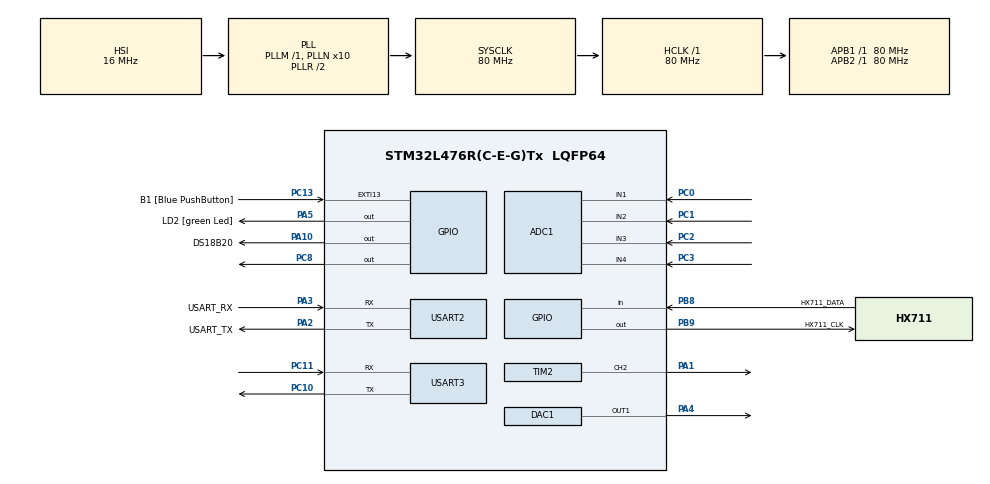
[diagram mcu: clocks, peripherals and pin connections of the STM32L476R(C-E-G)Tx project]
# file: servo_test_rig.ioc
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ADC1.Channel-0\#ChannelRegularConversion=ADC_CHANNEL_1
ADC1.Channel-1\#ChannelRegularConversion=ADC_CHANNEL_2
ADC1.Channel-2\#ChannelRegularConversion=ADC_CHANNEL_3
ADC1.Channel-3\#ChannelRegularConversion=ADC_CHANNEL_4
ADC1.DMAContinuousRequests=ENABLE
ADC1.ExternalTrigConv=ADC_SOFTWARE_START
ADC1.NbrOfConversion=4
ADC1.NbrOfConversionFlag=1
ADC1.OffsetNumber-0\#ChannelRegularConversion=ADC_OFFSET_NONE
ADC1.OffsetNumber-1\#ChannelRegularConversion=ADC_OFFSET_NONE
ADC1.OffsetNumber-2\#ChannelRegularConversion=ADC_OFFSET_NONE
ADC1.OffsetNumber-3\#ChannelRegularConversion=ADC_OFFSET_NONE
ADC1.Rank-0\#ChannelRegularConversion=1
ADC1.Rank-1\#ChannelRegularConversion=2
ADC1.Rank-2\#ChannelRegularConversion=3
ADC1.Rank-3\#ChannelRegularConversion=4
ADC1.SamplingTime-0\#ChannelRegularConversion=ADC_SAMPLETIME_92CYCLES_5
ADC1.SamplingTime-1\#ChannelRegularConversion=ADC_SAMPLETIME_92CYCLES_5
ADC1.SamplingTime-2\#ChannelRegularConversion=ADC_SAMPLETIME_92CYCLES_5
ADC1.SamplingTime-3\#ChannelRegularConversion=ADC_SAMPLETIME_92CYCLES_5
ADC1.master=1
Dma.ADC1.0.Direction=DMA_PERIPH_TO_MEMORY
Dma.ADC1.0.Instance=DMA1_Channel1
Dma.ADC1.0.MemDataAlignment=DMA_MDATAALIGN_HALFWORD
Dma.ADC1.0.MemInc=DMA_MINC_ENABLE
Dma.ADC1.0.Mode=DMA_CIRCULAR
Dma.ADC1.0.PeriphDataAlignment=DMA_PDATAALIGN_HALFWORD
Dma.ADC1.0.PeriphInc=DMA_PINC_DISABLE
Dma.ADC1.0.Priority=DMA_PRIORITY_HIGH
Dma.Request0=ADC1
Dma.Request1=USART2_RX
Dma.Request2=USART3_RX
Dma.USART2_RX.1.Direction=DMA_PERIPH_TO_MEMORY
Dma.USART2_RX.1.Instance=DMA1_Channel6
Dma.USART2_RX.1.MemDataAlignment=DMA_MDATAALIGN_BYTE
Dma.USART2_RX.1.MemInc=DMA_MINC_ENABLE
Dma.USART2_RX.1.Mode=DMA_CIRCULAR
Dma.USART2_RX.1.PeriphDataAlignment=DMA_PDATAALIGN_BYTE
Dma.USART2_RX.1.PeriphInc=DMA_PINC_DISABLE
Dma.USART2_RX.1.Priority=DMA_PRIORITY_VERY_HIGH
Dma.USART3_RX.2.Direction=DMA_PERIPH_TO_MEMORY
Dma.USART3_RX.2.Instance=DMA1_Channel3
Dma.USART3_RX.2.MemDataAlignment=DMA_MDATAALIGN_BYTE
Dma.USART3_RX.2.MemInc=DMA_MINC_ENABLE
Dma.USART3_RX.2.Mode=DMA_CIRCULAR
Dma.USART3_RX.2.PeriphDataAlignment=DMA_PDATAALIGN_BYTE
Dma.USART3_RX.2.PeriphInc=DMA_PINC_DISABLE
Dma.USART3_RX.2.Priority=DMA_PRIORITY_VERY_HIGH
Mcu.Family=STM32L4
Mcu.Name=STM32L476R(C-E-G)Tx
Mcu.Package=LQFP64
NVIC.ADC1_2_IRQn=true\:0\:0\:false\:false\:true\:true\:true\:true
NVIC.DMA1_Channel1_IRQn=true\:0\:0\:false\:false\:true\:false\:true\:true
NVIC.DMA1_Channel3_IRQn=true\:0\:0\:false\:false\:true\:false\:true\:true
NVIC.DMA1_Channel6_IRQn=true\:0\:0\:false\:false\:true\:false\:true\:true
NVIC.PriorityGroup=NVIC_PRIORITYGROUP_4
NVIC.USART2_IRQn=true\:0\:0\:false\:false\:true\:true\:true\:true
NVIC.USART3_IRQn=true\:0\:0\:false\:false\:true\:true\:true\:true
PA1.Signal=S_TIM2_CH2
PA10.GPIO_Label=DS18B20
PA10.GPIO_ModeDefaultOutputPP=GPIO_MODE_OUTPUT_OD
PA10.GPIO_PuPd=GPIO_NOPULL
PA10.GPIO_Speed=GPIO_SPEED_FREQ_VERY_HIGH
PA10.PinState=GPIO_PIN_SET
PA10.Signal=GPIO_Output
PA13\ (JTMS-SWDIO).GPIO_Label=TMS
PA13\ (JTMS-SWDIO).Mode=Serial_Wire
PA13\ (JTMS-SWDIO).Signal=SYS_JTMS-SWDIO
PA14\ (JTCK-SWCLK).GPIO_Label=TCK
PA14\ (JTCK-SWCLK).Mode=Serial_Wire
PA14\ (JTCK-SWCLK).Signal=SYS_JTCK-SWCLK
PA2.GPIO_Label=USART_TX
PA2.GPIO_Mode=GPIO_MODE_AF_PP
PA2.GPIO_PuPd=GPIO_NOPULL
PA2.GPIO_Speed=GPIO_SPEED_FREQ_VERY_HIGH
PA2.Mode=Asynchronous
PA2.Signal=USART2_TX
PA3.GPIO_Label=USART_RX
PA3.GPIO_Mode=GPIO_MODE_AF_PP
PA3.GPIO_PuPd=GPIO_NOPULL
PA3.GPIO_Speed=GPIO_SPEED_FREQ_VERY_HIGH
PA3.Mode=Asynchronous
PA3.Signal=USART2_RX
PA4.Signal=COMP_DAC11_group
PA5.GPIO_Label=LD2 [green Led]
PA5.GPIO_ModeDefaultOutputPP=GPIO_MODE_OUTPUT_PP
PA5.GPIO_PuPd=GPIO_NOPULL
PA5.GPIO_Speed=GPIO_SPEED_FREQ_LOW
PA5.Signal=GPIO_Output
PB3\ (JTDO-TRACESWO).GPIO_Label=SWO
PB3\ (JTDO-TRACESWO).Signal=SYS_JTDO-SWO
PB8.GPIO_Label=HX711_DATA
PB8.Signal=GPIO_Input
PB9.GPIO_Label=HX711_CLK
PB9.Signal=GPIO_Output
PC0.Signal=ADCx_IN1
PC1.Signal=ADCx_IN2
PC10.Mode=Asynchronous
PC10.Signal=USART3_TX
PC11.Mode=Asynchronous
PC11.Signal=USART3_RX
PC13.GPIO_Label=B1 [Blue PushButton]
PC13.GPIO_ModeDefaultEXTI=GPIO_MODE_IT_FALLING
PC13.GPIO_PuPd=GPIO_NOPULL
PC13.Signal=GPXTI13
PC14-OSC32_IN\ (PC14).Mode=LSE-External-Oscillator
PC14-OSC32_IN\ (PC14).Signal=RCC_OSC32_IN
PC15-OSC32_OUT\ (PC15).Mode=LSE-External-Oscillator
PC15-OSC32_OUT\ (PC15).Signal=RCC_OSC32_OUT
PC2.Signal=ADCx_IN3
PC3.Signal=ADCx_IN4
PC8.Signal=GPIO_Output
PH0-OSC_IN\ (PH0).Signal=RCC_OSC_IN
PH1-OSC_OUT\ (PH1).Signal=RCC_OSC_OUT
ProjectManager.HeapSize=0x200
ProjectManager.StackSize=0x400
ProjectManager.TargetToolchain=STM32CubeIDE
RCC.ADCFreq_Value=64000000
RCC.AHBFreq_Value=80000000
RCC.APB1Freq_Value=80000000
RCC.APB1TimFreq_Value=80000000
RCC.APB2Freq_Value=80000000
RCC.APB2TimFreq_Value=80000000
RCC.CortexFreq_Value=80000000
RCC.HCLKFreq_Value=80000000
RCC.HSE_VALUE=8000000
RCC.HSI_VALUE=16000000
RCC.MSI_VALUE=4000000
RCC.PLLN=10
RCC.PLLSourceVirtual=RCC_PLLSOURCE_HSI
RCC.PREFETCH_ENABLE=1
RCC.SYSCLKFreq_VALUE=80000000
RCC.SYSCLKSource=RCC_SYSCLKSOURCE_PLLCLK
RCC.USBFreq_Value=64000000
RCC.VCOOutputFreq_Value=160000000
SH.ADCx_IN1.0=ADC1_IN1,IN1-Single-Ended
SH.ADCx_IN2.0=ADC1_IN2,IN2-Single-Ended
SH.ADCx_IN3.0=ADC1_IN3,IN3-Single-Ended
SH.ADCx_IN4.0=ADC1_IN4,IN4-Single-Ended
SH.COMP_DAC11_group.0=DAC1_OUT1,DAC_OUT1_ExtAndInt
SH.S_TIM2_CH2.0=TIM2_CH2,PWM Generation2 CH2
TIM1.Prescaler=80-1
TIM2.Channel-PWM\ Generation2\ CH2=TIM_CHANNEL_2
TIM2.Period=1600000-1
USART2.VirtualMode-Asynchronous=VM_ASYNC
USART3.VirtualMode-Asynchronous=VM_ASYNC
VP_TIM1_VS_ClockSourceINT.Mode=Internal
board=NUCLEO-L476RG

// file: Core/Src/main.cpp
/* USER CODE BEGIN Header */
/**
  ******************************************************************************
  * @file           : main.c
  * @brief          : Main program body
  ******************************************************************************
  * @attention
  *
  * Copyright (c) 2023 STMicroelectronics.
  * All rights reserved.
  *
  * This software is licensed under terms that can be found in the LICENSE file
  * in the root directory of this software component.
  * If no LICENSE file comes with this software, it is provided AS-IS.
  *
  ******************************************************************************
  */
/* USER CODE END Header */
#include "main.h"

/* USER CODE BEGIN Includes */
#include <stdio.h>
#include <string.h>

#include "../Dufour_Drivers/Inc/ds18b20_driver.hh"
#include "../Dufour_Drivers/Inc/high_level_controller.hh"
#include "../Dufour_Drivers/Inc/hx711_driver.hh"
#include "../Dufour_Drivers/Inc/one_wire_driver.hh"
#include "../Dufour_Drivers/Inc/sensor_feedback_driver.hh"
#include "../Dufour_Drivers/Inc/serial_interface.hh"
#include "../Dufour_Drivers/Inc/servo_p500_driver.hh"
#include "../Dufour_Drivers/Inc/timer_driver.hh"
#include "../Dufour_Drivers/Inc/uart_driver.hh"
/* USER CODE END Includes */

ADC_HandleTypeDef hadc1;
DMA_HandleTypeDef hdma_adc1;

DAC_HandleTypeDef hdac1;

TIM_HandleTypeDef htim1;
TIM_HandleTypeDef htim2;

UART_HandleTypeDef huart2;
UART_HandleTypeDef huart3;
DMA_HandleTypeDef hdma_usart2_rx;
DMA_HandleTypeDef hdma_usart3_rx;

/* USER CODE BEGIN PV */

// Servo driver
ServoP500Driver servo(&htim2, TIM_CHANNEL_2);

// Sensor feedback
OneWireDriver ds18b20_1wire(DS18B20_GPIO_Port, DS18B20_Pin);
DS18B20Driver temp_sensors(&ds18b20_1wire);
HX711Driver load_cell(HX711_CLK_GPIO_Port, HX711_CLK_Pin, HX711_DATA_GPIO_Port, HX711_DATA_Pin);
SensorFeedbackDriver sensors(&hadc1, &load_cell, &temp_sensors);

// host-PC interface
UartDriver serial(&huart3);
SerialInterface host_pc(&serial);

TimerDriver timer;

/* USER CODE END PV */

void SystemClock_Config(void);
static void MX_GPIO_Init(void);
static void MX_DMA_Init(void);
static void MX_USART2_UART_Init(void);
static void MX_ADC1_Init(void);
static void MX_TIM2_Init(void);
static void MX_DAC1_Init(void);
static void MX_TIM1_Init(void);
static void MX_USART3_UART_Init(void);

int main(void)
{

  /* MCU Configuration--------------------------------------------------------*/

  /* Reset of all peripherals, Initializes the Flash interface and the Systick. */
  HAL_Init();

  /* Configure the system clock */
  SystemClock_Config();

  /* Initialize all configured peripherals */
  MX_GPIO_Init();
  MX_DMA_Init();
  MX_USART2_UART_Init();
  MX_ADC1_Init();
  MX_TIM2_Init();
  MX_DAC1_Init();
  MX_TIM1_Init();
  MX_USART3_UART_Init();
  /* USER CODE BEGIN 2 */

  // delay_us() timer
  HAL_TIM_Base_Start(&htim1);
  serial.start();
  ServoController servo_ctrl(&timer, &servo, &sensors, &host_pc, &serial);
  servo_ctrl.init();
  /* USER CODE END 2 */

  /* Infinite loop */
  /* USER CODE BEGIN WHILE */
  while (1)
  {
  	servo_ctrl.step();
    /* USER CODE END WHILE */

  }
}

void SystemClock_Config(void)
{
  RCC_OscInitTypeDef RCC_OscInitStruct = {0};
  RCC_ClkInitTypeDef RCC_ClkInitStruct = {0};

  /** Configure the main internal regulator output voltage
  */
  if (HAL_PWREx_ControlVoltageScaling(PWR_REGULATOR_VOLTAGE_SCALE1) != HAL_OK)
  {
    Error_Handler();
  }

  /** Initializes the RCC Oscillators according to the specified parameters
  * in the RCC_OscInitTypeDef structure.
  */
  RCC_OscInitStruct.OscillatorType = RCC_OSCILLATORTYPE_HSI;
  RCC_OscInitStruct.HSIState = RCC_HSI_ON;
  RCC_OscInitStruct.HSICalibrationValue = RCC_HSICALIBRATION_DEFAULT;
  RCC_OscInitStruct.PLL.PLLState = RCC_PLL_ON;
  RCC_OscInitStruct.PLL.PLLSource = RCC_PLLSOURCE_HSI;
  RCC_OscInitStruct.PLL.PLLM = 1;
  RCC_OscInitStruct.PLL.PLLN = 10;
  RCC_OscInitStruct.PLL.PLLP = RCC_PLLP_DIV7;
  RCC_OscInitStruct.PLL.PLLQ = RCC_PLLQ_DIV2;
  RCC_OscInitStruct.PLL.PLLR = RCC_PLLR_DIV2;
  if (HAL_RCC_OscConfig(&RCC_OscInitStruct) != HAL_OK)
  {
    Error_Handler();
  }

  /** Initializes the CPU, AHB and APB buses clocks
  */
  RCC_ClkInitStruct.ClockType = RCC_CLOCKTYPE_HCLK|RCC_CLOCKTYPE_SYSCLK
                              |RCC_CLOCKTYPE_PCLK1|RCC_CLOCKTYPE_PCLK2;
  RCC_ClkInitStruct.SYSCLKSource = RCC_SYSCLKSOURCE_PLLCLK;
  RCC_ClkInitStruct.AHBCLKDivider = RCC_SYSCLK_DIV1;
  RCC_ClkInitStruct.APB1CLKDivider = RCC_HCLK_DIV1;
  RCC_ClkInitStruct.APB2CLKDivider = RCC_HCLK_DIV1;

  if (HAL_RCC_ClockConfig(&RCC_ClkInitStruct, FLASH_LATENCY_4) != HAL_OK)
  {
    Error_Handler();
  }
}

static void MX_ADC1_Init(void)
{

  ADC_MultiModeTypeDef multimode = {0};
  ADC_ChannelConfTypeDef sConfig = {0};

  /** Common config
  */
  hadc1.Instance = ADC1;
  hadc1.Init.ClockPrescaler = ADC_CLOCK_ASYNC_DIV1;
  hadc1.Init.Resolution = ADC_RESOLUTION_12B;
  hadc1.Init.DataAlign = ADC_DATAALIGN_RIGHT;
  hadc1.Init.ScanConvMode = ADC_SCAN_ENABLE;
  hadc1.Init.EOCSelection = ADC_EOC_SINGLE_CONV;
  hadc1.Init.LowPowerAutoWait = DISABLE;
  hadc1.Init.ContinuousConvMode = DISABLE;
  hadc1.Init.NbrOfConversion = 4;
  hadc1.Init.DiscontinuousConvMode = DISABLE;
  hadc1.Init.ExternalTrigConv = ADC_SOFTWARE_START;
  hadc1.Init.ExternalTrigConvEdge = ADC_EXTERNALTRIGCONVEDGE_NONE;
  hadc1.Init.DMAContinuousRequests = ENABLE;
  hadc1.Init.Overrun = ADC_OVR_DATA_PRESERVED;
  hadc1.Init.OversamplingMode = DISABLE;
  if (HAL_ADC_Init(&hadc1) != HAL_OK)
  {
    Error_Handler();
  }

  /** Configure the ADC multi-mode
  */
  multimode.Mode = ADC_MODE_INDEPENDENT;
  if (HAL_ADCEx_MultiModeConfigChannel(&hadc1, &multimode) != HAL_OK)
  {
    Error_Handler();
  }

  /** Configure Regular Channel
  */
  sConfig.Channel = ADC_CHANNEL_1;
  sConfig.Rank = ADC_REGULAR_RANK_1;
  sConfig.SamplingTime = ADC_SAMPLETIME_92CYCLES_5;
  sConfig.SingleDiff = ADC_SINGLE_ENDED;
  sConfig.OffsetNumber = ADC_OFFSET_NONE;
  sConfig.Offset = 0;
  if (HAL_ADC_ConfigChannel(&hadc1, &sConfig) != HAL_OK)
  {
    Error_Handler();
  }

  /** Configure Regular Channel
  */
  sConfig.Channel = ADC_CHANNEL_2;
  sConfig.Rank = ADC_REGULAR_RANK_2;
  if (HAL_ADC_ConfigChannel(&hadc1, &sConfig) != HAL_OK)
  {
    Error_Handler();
  }

  /** Configure Regular Channel
  */
  sConfig.Channel = ADC_CHANNEL_3;
  sConfig.Rank = ADC_REGULAR_RANK_3;
  if (HAL_ADC_ConfigChannel(&hadc1, &sConfig) != HAL_OK)
  {
    Error_Handler();
  }

  /** Configure Regular Channel
  */
  sConfig.Channel = ADC_CHANNEL_4;
  sConfig.Rank = ADC_REGULAR_RANK_4;
  if (HAL_ADC_ConfigChannel(&hadc1, &sConfig) != HAL_OK)
  {
    Error_Handler();
  }

}

static void MX_DAC1_Init(void)
{

  DAC_ChannelConfTypeDef sConfig = {0};

  /** DAC Initialization
  */
  hdac1.Instance = DAC1;
  if (HAL_DAC_Init(&hdac1) != HAL_OK)
  {
    Error_Handler();
  }

  /** DAC channel OUT1 config
  */
  sConfig.DAC_SampleAndHold = DAC_SAMPLEANDHOLD_DISABLE;
  sConfig.DAC_Trigger = DAC_TRIGGER_NONE;
  sConfig.DAC_OutputBuffer = DAC_OUTPUTBUFFER_ENABLE;
  sConfig.DAC_ConnectOnChipPeripheral = DAC_CHIPCONNECT_ENABLE;
  sConfig.DAC_UserTrimming = DAC_TRIMMING_FACTORY;
  if (HAL_DAC_ConfigChannel(&hdac1, &sConfig, DAC_CHANNEL_1) != HAL_OK)
  {
    Error_Handler();
  }

}

static void MX_TIM1_Init(void)
{

  TIM_ClockConfigTypeDef sClockSourceConfig = {0};
  TIM_MasterConfigTypeDef sMasterConfig = {0};

  htim1.Instance = TIM1;
  htim1.Init.Prescaler = 80-1;
  htim1.Init.CounterMode = TIM_COUNTERMODE_UP;
  htim1.Init.Period = 65535;
  htim1.Init.ClockDivision = TIM_CLOCKDIVISION_DIV1;
  htim1.Init.RepetitionCounter = 0;
  htim1.Init.AutoReloadPreload = TIM_AUTORELOAD_PRELOAD_DISABLE;
  if (HAL_TIM_Base_Init(&htim1) != HAL_OK)
  {
    Error_Handler();
  }
  sClockSourceConfig.ClockSource = TIM_CLOCKSOURCE_INTERNAL;
  if (HAL_TIM_ConfigClockSource(&htim1, &sClockSourceConfig) != HAL_OK)
  {
    Error_Handler();
  }
  sMasterConfig.MasterOutputTrigger = TIM_TRGO_RESET;
  sMasterConfig.MasterOutputTrigger2 = TIM_TRGO2_RESET;
  sMasterConfig.MasterSlaveMode = TIM_MASTERSLAVEMODE_DISABLE;
  if (HAL_TIMEx_MasterConfigSynchronization(&htim1, &sMasterConfig) != HAL_OK)
  {
    Error_Handler();
  }

}

static void MX_TIM2_Init(void)
{

  TIM_MasterConfigTypeDef sMasterConfig = {0};
  TIM_OC_InitTypeDef sConfigOC = {0};

  htim2.Instance = TIM2;
  htim2.Init.Prescaler = 0;
  htim2.Init.CounterMode = TIM_COUNTERMODE_UP;
  htim2.Init.Period = 1600000-1;
  htim2.Init.ClockDivision = TIM_CLOCKDIVISION_DIV1;
  htim2.Init.AutoReloadPreload = TIM_AUTORELOAD_PRELOAD_DISABLE;
  if (HAL_TIM_PWM_Init(&htim2) != HAL_OK)
  {
    Error_Handler();
  }
  sMasterConfig.MasterOutputTrigger = TIM_TRGO_RESET;
  sMasterConfig.MasterSlaveMode = TIM_MASTERSLAVEMODE_DISABLE;
  if (HAL_TIMEx_MasterConfigSynchronization(&htim2, &sMasterConfig) != HAL_OK)
  {
    Error_Handler();
  }
  sConfigOC.OCMode = TIM_OCMODE_PWM1;
  sConfigOC.Pulse = 0;
  sConfigOC.OCPolarity = TIM_OCPOLARITY_HIGH;
  sConfigOC.OCFastMode = TIM_OCFAST_DISABLE;
  if (HAL_TIM_PWM_ConfigChannel(&htim2, &sConfigOC, TIM_CHANNEL_2) != HAL_OK)
  {
    Error_Handler();
  }
  HAL_TIM_MspPostInit(&htim2);

}

static void MX_USART2_UART_Init(void)
{

  huart2.Instance = USART2;
  huart2.Init.BaudRate = 115200;
  huart2.Init.WordLength = UART_WORDLENGTH_8B;
  huart2.Init.StopBits = UART_STOPBITS_1;
  huart2.Init.Parity = UART_PARITY_NONE;
  huart2.Init.Mode = UART_MODE_TX_RX;
  huart2.Init.HwFlowCtl = UART_HWCONTROL_NONE;
  huart2.Init.OverSampling = UART_OVERSAMPLING_16;
  huart2.Init.OneBitSampling = UART_ONE_BIT_SAMPLE_DISABLE;
  huart2.AdvancedInit.AdvFeatureInit = UART_ADVFEATURE_NO_INIT;
  if (HAL_UART_Init(&huart2) != HAL_OK)
  {
    Error_Handler();
  }

}

static void MX_USART3_UART_Init(void)
{

  huart3.Instance = USART3;
  huart3.Init.BaudRate = 115200;
  huart3.Init.WordLength = UART_WORDLENGTH_8B;
  huart3.Init.StopBits = UART_STOPBITS_1;
  huart3.Init.Parity = UART_PARITY_NONE;
  huart3.Init.Mode = UART_MODE_TX_RX;
  huart3.Init.HwFlowCtl = UART_HWCONTROL_NONE;
  huart3.Init.OverSampling = UART_OVERSAMPLING_16;
  huart3.Init.OneBitSampling = UART_ONE_BIT_SAMPLE_DISABLE;
  huart3.AdvancedInit.AdvFeatureInit = UART_ADVFEATURE_NO_INIT;
  if (HAL_UART_Init(&huart3) != HAL_OK)
  {
    Error_Handler();
  }

}

static void MX_DMA_Init(void)
{

  /* DMA controller clock enable */
  __HAL_RCC_DMA1_CLK_ENABLE();

  /* DMA interrupt init */
  /* DMA1_Channel1_IRQn interrupt configuration */
  HAL_NVIC_SetPriority(DMA1_Channel1_IRQn, 0, 0);
  HAL_NVIC_EnableIRQ(DMA1_Channel1_IRQn);
  /* DMA1_Channel3_IRQn interrupt configuration */
  HAL_NVIC_SetPriority(DMA1_Channel3_IRQn, 0, 0);
  HAL_NVIC_EnableIRQ(DMA1_Channel3_IRQn);
  /* DMA1_Channel6_IRQn interrupt configuration */
  HAL_NVIC_SetPriority(DMA1_Channel6_IRQn, 0, 0);
  HAL_NVIC_EnableIRQ(DMA1_Channel6_IRQn);

}

static void MX_GPIO_Init(void)
{
  GPIO_InitTypeDef GPIO_InitStruct = {0};

  /* GPIO Ports Clock Enable */
  __HAL_RCC_GPIOC_CLK_ENABLE();
  __HAL_RCC_GPIOH_CLK_ENABLE();
  __HAL_RCC_GPIOA_CLK_ENABLE();
  __HAL_RCC_GPIOB_CLK_ENABLE();

  /*Configure GPIO pin Output Level */
  HAL_GPIO_WritePin(LD2_GPIO_Port, LD2_Pin, GPIO_PIN_RESET);

  /*Configure GPIO pin Output Level */
  HAL_GPIO_WritePin(GPIOC, GPIO_PIN_8, GPIO_PIN_RESET);

  /*Configure GPIO pin Output Level */
  HAL_GPIO_WritePin(DS18B20_GPIO_Port, DS18B20_Pin, GPIO_PIN_SET);

  /*Configure GPIO pin Output Level */
  HAL_GPIO_WritePin(HX711_CLK_GPIO_Port, HX711_CLK_Pin, GPIO_PIN_RESET);

  /*Configure GPIO pin : B1_Pin */
  GPIO_InitStruct.Pin = B1_Pin;
  GPIO_InitStruct.Mode = GPIO_MODE_IT_FALLING;
  GPIO_InitStruct.Pull = GPIO_NOPULL;
  HAL_GPIO_Init(B1_GPIO_Port, &GPIO_InitStruct);

  /*Configure GPIO pin : LD2_Pin */
  GPIO_InitStruct.Pin = LD2_Pin;
  GPIO_InitStruct.Mode = GPIO_MODE_OUTPUT_PP;
  GPIO_InitStruct.Pull = GPIO_NOPULL;
  GPIO_InitStruct.Speed = GPIO_SPEED_FREQ_LOW;
  HAL_GPIO_Init(LD2_GPIO_Port, &GPIO_InitStruct);

  /*Configure GPIO pin : PC8 */
  GPIO_InitStruct.Pin = GPIO_PIN_8;
  GPIO_InitStruct.Mode = GPIO_MODE_OUTPUT_PP;
  GPIO_InitStruct.Pull = GPIO_NOPULL;
  GPIO_InitStruct.Speed = GPIO_SPEED_FREQ_LOW;
  HAL_GPIO_Init(GPIOC, &GPIO_InitStruct);

  /*Configure GPIO pin : DS18B20_Pin */
  GPIO_InitStruct.Pin = DS18B20_Pin;
  GPIO_InitStruct.Mode = GPIO_MODE_OUTPUT_OD;
  GPIO_InitStruct.Pull = GPIO_NOPULL;
  GPIO_InitStruct.Speed = GPIO_SPEED_FREQ_VERY_HIGH;
  HAL_GPIO_Init(DS18B20_GPIO_Port, &GPIO_InitStruct);

  /*Configure GPIO pin : HX711_DATA_Pin */
  GPIO_InitStruct.Pin = HX711_DATA_Pin;
  GPIO_InitStruct.Mode = GPIO_MODE_INPUT;
  GPIO_InitStruct.Pull = GPIO_NOPULL;
  HAL_GPIO_Init(HX711_DATA_GPIO_Port, &GPIO_InitStruct);

  /*Configure GPIO pin : HX711_CLK_Pin */
  GPIO_InitStruct.Pin = HX711_CLK_Pin;
  GPIO_InitStruct.Mode = GPIO_MODE_OUTPUT_PP;
  GPIO_InitStruct.Pull = GPIO_NOPULL;
  GPIO_InitStruct.Speed = GPIO_SPEED_FREQ_LOW;
  HAL_GPIO_Init(HX711_CLK_GPIO_Port, &GPIO_InitStruct);

}

/* USER CODE BEGIN 4 */
void HAL_UART_TxCpltCallback(UART_HandleTypeDef *huart)
{
	if(huart->Instance == serial.get_instance())
	{
		serial.on_tx_completed();
	}
}

void HAL_UART_RxCpltCallback(UART_HandleTypeDef *huart)
{
	if(huart->Instance == serial.get_instance())
	{
		serial.on_rx_completed();
	}
}

void HAL_ADC_ConvCpltCallback(ADC_HandleTypeDef *hadc)
{
  if(hadc->Instance == sensors.get_adc_instance())
  {
    sensors.on_adc_cplt_conv();
  }
}

void delay_us(uint32_t us)
{
	__HAL_TIM_SET_COUNTER(&htim1, 0);
	while(__HAL_TIM_GET_COUNTER(&htim1) < us);
}
/* USER CODE END 4 */

void Error_Handler(void)
{
  __disable_irq();
  while (1)
  {
  }
}
